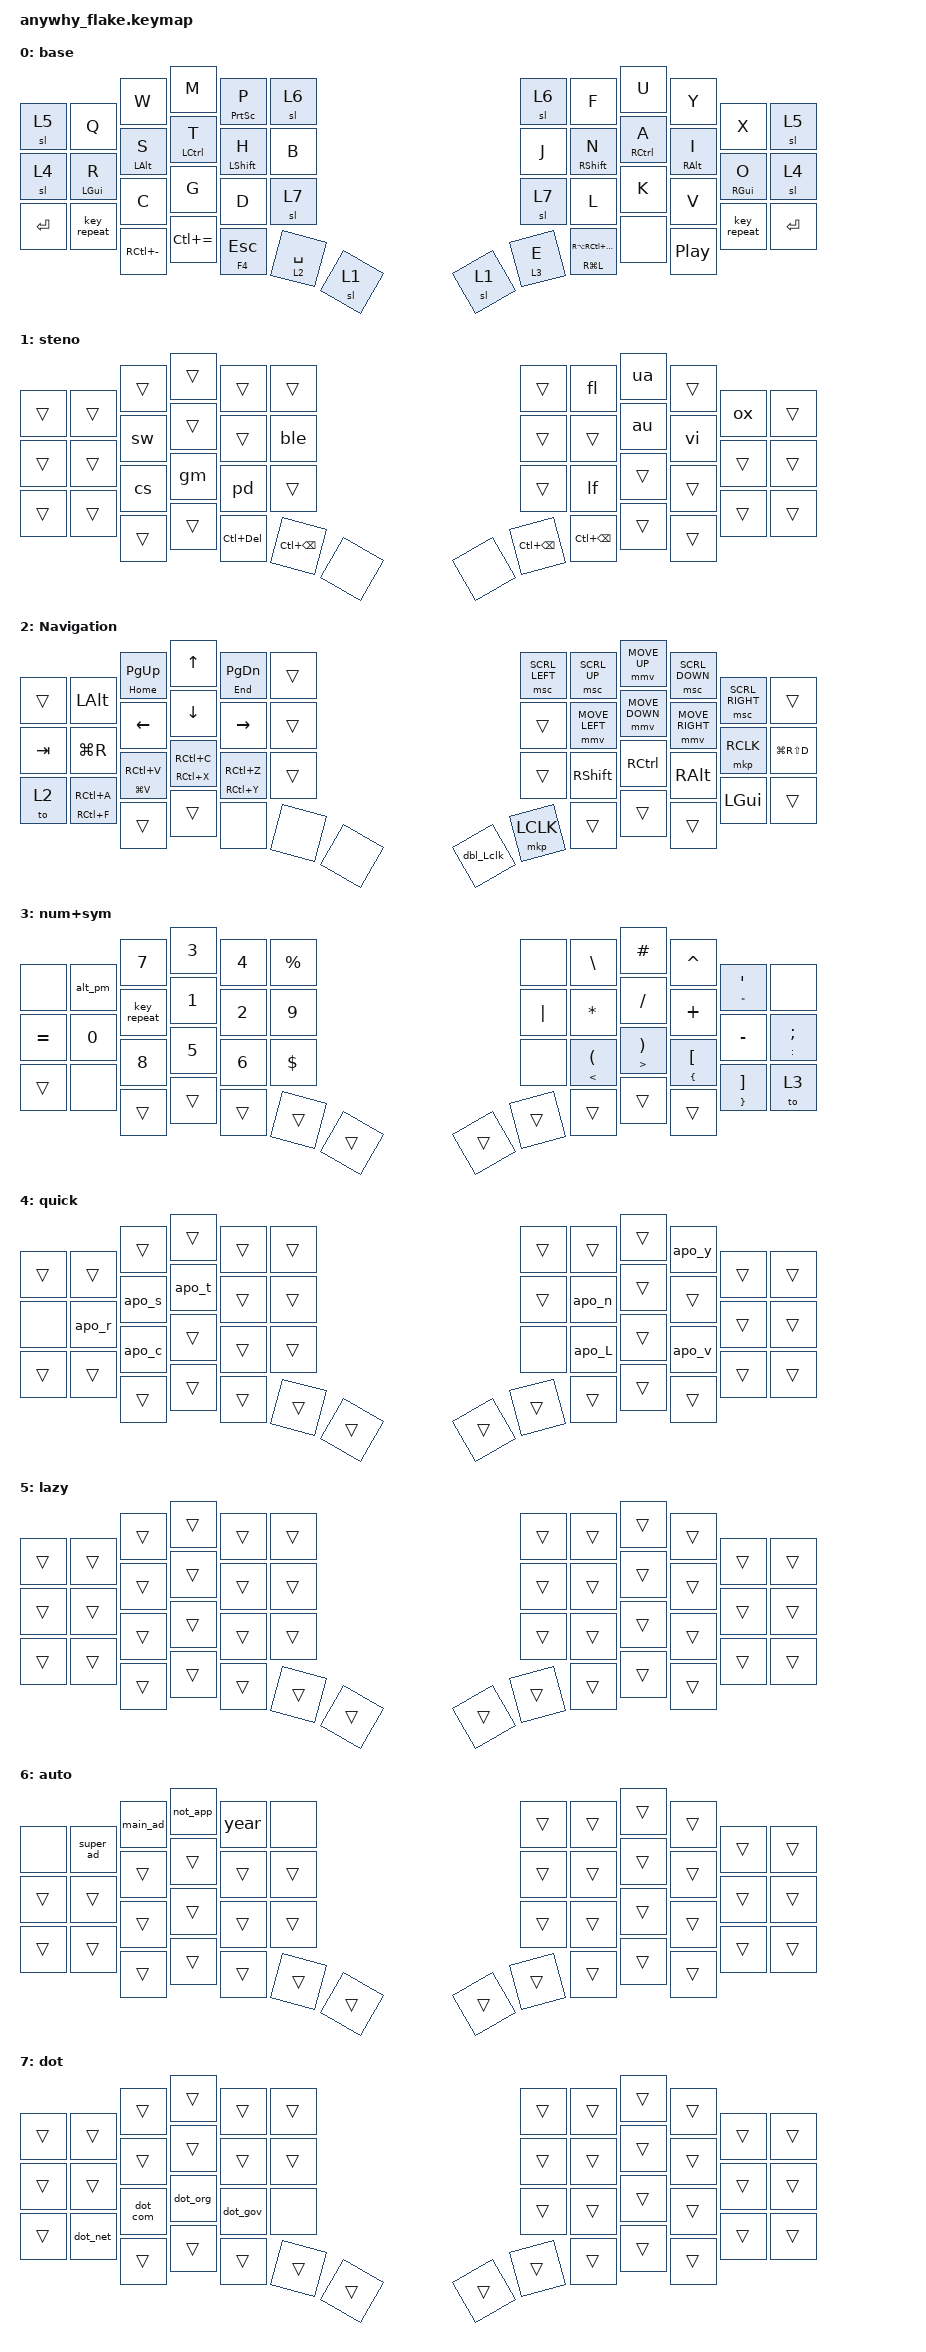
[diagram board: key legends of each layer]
#include <behaviors.dtsi>
#include <dt-bindings/zmk/keys.h>
#include <dt-bindings/zmk/pointing.h>

/ {
    combos {
        compatible = "zmk,combos";

        zoom {
            bindings = <&kp RC(N0)>;
            key-positions = <36 37>;
            layers = <0>;
        };
    };

    macros {
        dbl_Lclk: dbl_Lclk {
            compatible = "zmk,behavior-macro";
            #binding-cells = <0>;
            bindings = <&mkp LCLK &mkp LCLK>;
            label = "DBL_LCLK";
        };

        carets: carets {
            compatible = "zmk,behavior-macro";
            #binding-cells = <0>;
            bindings = <&kp LT &kp GT &kp LEFT_ARROW>;
            label = "CARETS";
        };

        parents: parents {
            compatible = "zmk,behavior-macro";
            #binding-cells = <0>;
            bindings = <&kp LPAR &kp RPAR &kp LEFT_ARROW>;
            label = "PARENTS";
        };

        brackets: brackets {
            compatible = "zmk,behavior-macro";
            #binding-cells = <0>;
            bindings = <&kp LBKT &kp RIGHT_BRACKET &kp LEFT_ARROW>;
            label = "BRACKETS";
        };

        curls: curls {
            compatible = "zmk,behavior-macro";
            #binding-cells = <0>;
            bindings = <&kp LBRC &kp RBRC &kp LEFT_ARROW>;
            label = "CURLS";
        };

        not_app: not_app {
            compatible = "zmk,behavior-macro";
            #binding-cells = <0>;
            bindings = <&kp LS(N) &kp FSLH &kp LS(A)>;
            label = "NOT_APP";
        };

        year: year {
            compatible = "zmk,behavior-macro";
            #binding-cells = <0>;
            bindings = <&kp N2 &kp N0 &kp N2 &kp N5>;
            label = "YEAR";
        };

        main_ad: main_ad {
            compatible = "zmk,behavior-macro";
            #binding-cells = <0>;
            bindings = <&kp D &kp E &kp L &kp L &kp O &kp N &kp DOT &kp M &kp O &kp Y>;
            label = "MAIN_AD";
        };

        super_ad: super_ad {
            compatible = "zmk,behavior-macro";
            #binding-cells = <0>;
            bindings = <&kp S &kp DOT &kp D &kp E &kp L &kp L &kp O &kp N &kp DOT &kp M &kp O &kp Y>;
            label = "SUPER_AD";
        };

        apo_r: apo_r {
            compatible = "zmk,behavior-macro";
            #binding-cells = <0>;
            bindings = <&kp SQT &kp R &kp E &kp SPACE>;
            label = "APO_R";
        };

        apo_s: apo_s {
            compatible = "zmk,behavior-macro";
            #binding-cells = <0>;
            bindings = <&kp SQT &kp S &kp SPACE>;
            label = "APO_S";
        };

        apo_t: apo_t {
            compatible = "zmk,behavior-macro";
            #binding-cells = <0>;
            bindings = <&kp SQT &kp T &kp SPACE>;
            label = "APO_T";
        };

        apo_y: apo_y {
            compatible = "zmk,behavior-macro";
            #binding-cells = <0>;
            bindings = <&kp Y &kp SQT>;
            label = "APO_Y";
        };

        apo_L: apo_L {
            compatible = "zmk,behavior-macro";
            #binding-cells = <0>;
            bindings = <&kp SQT &kp L &kp L &kp SPACE>;
            label = "APO_L";
        };

        apo_v: apo_v {
            compatible = "zmk,behavior-macro";
            #binding-cells = <0>;
            bindings = <&kp SQT &kp V &kp E &kp SPACE>;
            label = "APO_V";
        };

        au: au {
            compatible = "zmk,behavior-macro";
            #binding-cells = <0>;
            bindings = <&kp A &kp U>;
            label = "AU";
        };

        sw: sw {
            compatible = "zmk,behavior-macro";
            #binding-cells = <0>;
            bindings = <&kp S &kp W>;
            label = "SW";
        };

        vi: vi {
            compatible = "zmk,behavior-macro";
            #binding-cells = <0>;
            bindings = <&kp V &kp I>;
            label = "VI";
        };

        cs: cs {
            compatible = "zmk,behavior-macro";
            #binding-cells = <0>;
            bindings = <&kp C &kp S>;
            label = "CS";
        };

        fl: fl {
            compatible = "zmk,behavior-macro";
            #binding-cells = <0>;
            bindings = <&kp F &kp L>;
            label = "FL";
        };

        lf: lf {
            compatible = "zmk,behavior-macro";
            #binding-cells = <0>;
            bindings = <&kp L &kp F>;
            label = "LF";
        };

        comma: comma {
            compatible = "zmk,behavior-macro";
            #binding-cells = <0>;
            bindings = <&kp COMMA &kp SPACE>;
            label = "COMMA";
        };

        period: period {
            compatible = "zmk,behavior-macro";
            #binding-cells = <0>;
            bindings = <&kp DOT &kp SPACE>;
            label = "PERIOD";
        };

        gm: gm {
            compatible = "zmk,behavior-macro";
            #binding-cells = <0>;
            bindings = <&kp G &kp M>;
            label = "GM";
        };

        dot_com: dot_com {
            compatible = "zmk,behavior-macro";
            #binding-cells = <0>;
            bindings = <&kp DOT &kp C &kp O &kp M>;
            label = "DOT_COM";
        };

        dot_net: dot_net {
            compatible = "zmk,behavior-macro";
            #binding-cells = <0>;
            bindings = <&kp DOT &kp N &kp E &kp T>;
            label = "DOT_NET";
        };

        dot_org: dot_org {
            compatible = "zmk,behavior-macro";
            #binding-cells = <0>;
            bindings = <&kp DOT &kp O &kp R &kp G>;
            label = "DOT_ORG";
        };

        dot_gov: dot_gov {
            compatible = "zmk,behavior-macro";
            #binding-cells = <0>;
            bindings = <&kp DOT &kp G &kp O &kp V>;
            label = "DOT_GOV";
        };

        pd: pd {
            compatible = "zmk,behavior-macro";
            #binding-cells = <0>;
            bindings = <&kp P &kp D>;
            label = "PD";
        };

        ef: ef {
            compatible = "zmk,behavior-macro";
            #binding-cells = <0>;
            bindings = <&kp E &kp F>;
            label = "EF";
        };

        fe: fe {
            compatible = "zmk,behavior-macro";
            #binding-cells = <0>;
            bindings = <&kp F &kp E>;
            label = "FE";
        };

        apo_c: apo_c {
            compatible = "zmk,behavior-macro";
            #binding-cells = <0>;
            bindings = <&kp C &kp SQT>;
            label = "APO_C";
        };

        apo_n: apo_n {
            compatible = "zmk,behavior-macro";
            #binding-cells = <0>;
            bindings = <&kp N &kp SQT>;
            label = "APO_N";
        };

        ua: ua {
            compatible = "zmk,behavior-macro";
            #binding-cells = <0>;
            bindings = <&kp U &kp A>;
            label = "UA";
        };

        ox: ox {
            compatible = "zmk,behavior-macro";
            #binding-cells = <0>;
            bindings = <&kp O &kp X>;
            label = "OX";
        };

        ax: ax {
            compatible = "zmk,behavior-macro";
            #binding-cells = <0>;
            bindings = <&kp A &kp X>;
            label = "AX";
        };

        ble: ble {
            compatible = "zmk,behavior-macro";
            #binding-cells = <0>;
            bindings = <&kp B &kp L &kp E>;
            label = "BLE";
        };

        Le: Le {
            compatible = "zmk,behavior-macro";
            #binding-cells = <0>;
            bindings = <&kp L &kp E>;
            label = "LE";
        };

        ke: ke {
            compatible = "zmk,behavior-macro";
            #binding-cells = <0>;
            bindings = <&kp K &kp E>;
            label = "KE";
        };

        ve: ve {
            compatible = "zmk,behavior-macro";
            #binding-cells = <0>;
            bindings = <&kp V &kp E>;
            label = "VE";
        };

        eve: eve {
            compatible = "zmk,behavior-macro";
            #binding-cells = <0>;
            bindings = <&kp E &kp V &kp E>;
            label = "EVE";
        };

        exe: exe {
            compatible = "zmk,behavior-macro";
            #binding-cells = <0>;
            bindings = <&kp E &kp X &kp E>;
            label = "EXE";
        };

        je: je {
            compatible = "zmk,behavior-macro";
            #binding-cells = <0>;
            bindings = <&kp J &kp E>;
            label = "JE";
        };

        ph: ph {
            compatible = "zmk,behavior-macro";
            #binding-cells = <0>;
            bindings = <&kp P &kp H>;
            label = "PH";
        };

        alt_pm: alt_pm {
            compatible = "zmk,behavior-macro";
            #binding-cells = <0>;
            bindings = <&kt KP_NUMLOCK &kt LEFT_ALT &kp N0 &kp N1 &kp N7 &kp N7 &kt LEFT_ALT &kt KP_NUMLOCK>;
            label = "ALT_PM";
        };
    };

    keymap {
        compatible = "zmk,keymap";

        base {
            bindings = <
&sl 5       &kp Q          &kp W          &kp M        &mt PRINTSCREEN P  &sl 6    &sl 6  &kp F        &kp U                  &kp Y       &kp X        &sl 5
&sl 4       &mt LGUI R     &mt LALT S     &mt LCTRL T  &mt LSHFT H        &kp B    &kp J  &mt RSHFT N  &mt RCTRL A            &mt RALT I  &mt RGUI O   &sl 4
&kp RETURN  &key_repeat    &kp C          &kp G        &kp D              &sl 7    &sl 7  &kp L        &kp K                  &kp V       &key_repeat  &kp RETURN
            &kp RC(MINUS)  &kp LC(EQUAL)  &mt F4 ESC   &lt 2 SPACE        &sl 1    &sl 1  &lt 3 E      &mt RG(L) RA(RC(DEL))  &none       &kp C_PLAY_PAUSE
            >;
        };

        steno {
            bindings = <
&trans  &trans  &trans  &trans       &trans        &trans    &trans  &fl           &ua           &trans  &ox     &trans
&trans  &trans  &sw     &trans       &trans        &ble      &trans  &trans        &au           &vi     &trans  &trans
&trans  &trans  &cs     &gm          &pd           &trans    &trans  &lf           &trans        &trans  &trans  &trans
        &trans  &trans  &kp LC(DEL)  &kp LC(BSPC)  &none     &none   &kp LC(BSPC)  &kp LC(BSPC)  &trans  &trans
            >;
        };

        Navigation {
            bindings = <
&trans   &kp LALT         &mt HOME PG_UP   &kp UP           &mt END PG_DN    &trans    &msc SCRL_LEFT  &msc SCRL_UP    &mmv MOVE_UP    &msc SCRL_DOWN   &msc SCRL_RIGHT  &trans
&kp TAB  &kp LG(R)        &kp LEFT         &kp DOWN         &kp RIGHT        &trans    &trans          &mmv MOVE_LEFT  &mmv MOVE_DOWN  &mmv MOVE_RIGHT  &mkp RCLK        &kp LG(RS(D))
&to 2    &mt RC(F) RC(A)  &mt LG(V) RC(V)  &mt RC(X) RC(C)  &mt RC(Y) RC(Z)  &trans    &trans          &kp RSHFT       &kp RCTRL       &kp RALT         &kp LGUI         &trans
         &trans           &trans           &none            &none            &none     &dbl_Lclk       &mkp LCLK       &trans          &trans           &trans
            >;
        };

        num+sym {
            bindings = <
&none      &alt_pm  &kp N7       &kp N3  &kp N4  &kp PERCENT    &none     &kp BACKSLASH                   &kp POUND                           &kp CARET              &mt DOUBLE_QUOTES SINGLE_QUOTE  &none
&kp EQUAL  &kp N0   &key_repeat  &kp N1  &kp N2  &kp N9         &kp PIPE  &kp ASTRK                       &kp SLASH                           &kp PLUS               &kp MINUS                       &mt COLON SEMI
&trans     &none    &kp N8       &kp N5  &kp N6  &kp DOLLAR     &none     &mt LESS_THAN LEFT_PARENTHESIS  &mt GREATER_THAN RIGHT_PARENTHESIS  &mt LBRC LEFT_BRACKET  &mt RIGHT_BRACE RIGHT_BRACKET   &to 3
        &trans  &trans  &trans  &trans  &trans                  &trans  &trans  &trans  &trans  &trans
            >;
        };

        quick {
            bindings = <
&trans  &trans  &trans  &trans  &trans  &trans    &trans  &trans  &trans  &apo_y  &trans  &trans
&none   &apo_r  &apo_s  &apo_t  &trans  &trans    &trans  &apo_n  &trans  &trans  &trans  &trans
&trans  &trans  &apo_c  &trans  &trans  &trans    &none  &apo_L  &trans  &apo_v  &trans  &trans
        &trans  &trans  &trans  &trans  &trans    &trans  &trans  &trans  &trans  &trans
            >;
        };

        lazy {
            bindings = <
&trans  &trans  &trans  &trans  &trans  &trans    &trans  &trans  &trans  &trans  &trans  &trans
&trans  &trans  &trans  &trans  &trans  &trans    &trans  &trans  &trans  &trans  &trans  &trans
&trans  &trans  &trans  &trans  &trans  &trans    &trans  &trans  &trans  &trans  &trans  &trans
        &trans  &trans  &trans  &trans  &trans    &trans  &trans  &trans  &trans  &trans
            >;
        };

        auto {
            bindings = <
&none   &super_ad  &main_ad  &not_app  &year   &none    &trans  &trans  &trans  &trans  &trans  &trans
&trans  &trans  &trans  &trans  &trans  &trans    &trans  &trans  &trans  &trans  &trans  &trans
&trans  &trans  &trans  &trans  &trans  &trans    &trans  &trans  &trans  &trans  &trans  &trans
        &trans  &trans  &trans  &trans  &trans    &trans  &trans  &trans  &trans  &trans
            >;
        };

        dot {
            bindings = <
&trans  &trans  &trans  &trans  &trans  &trans    &trans  &trans  &trans  &trans  &trans  &trans
&trans  &trans  &trans  &trans  &trans  &trans    &trans  &trans  &trans  &trans  &trans  &trans
&trans  &dot_net  &dot_com  &dot_org  &dot_gov  &none    &trans  &trans  &trans  &trans  &trans  &trans
        &trans  &trans  &trans  &trans  &trans    &trans  &trans  &trans  &trans  &trans
            >;
        };
    };
};
